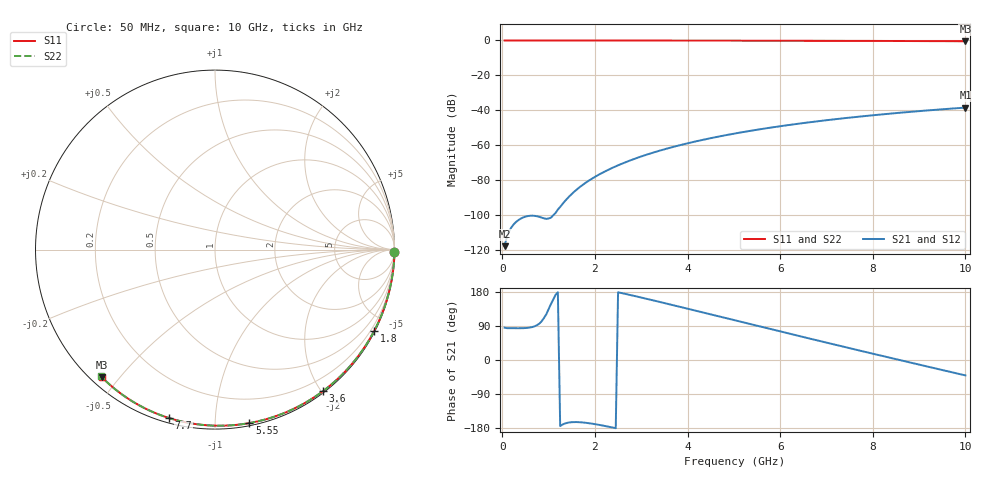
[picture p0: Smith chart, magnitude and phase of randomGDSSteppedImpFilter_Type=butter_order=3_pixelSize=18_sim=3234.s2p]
! freq	dB(S11)	phase(S11)	dB(S12)	phase(S12)
!  dB(S21)	phase(S21)	dB(S22)	phase(S22)
!S-par simulation data
#  GHz  S  DB  R 50
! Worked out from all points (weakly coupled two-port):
!   200 points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, 50 MHz to 10 GHz, reference 50 ohm
!   highest |S21| = -38.39 dB at 10 GHz (marker M1); lowest = -117.6 dB at 50 MHz (marker M2)
!   lowest |S11| = -0.4 dB at 10 GHz (marker M3), VSWR 38.95, Z = 1.54 - j22.5 ohm
!   |S11| at or under -10 dB: nowhere
!   |S22| runs from -0.4 to 0.0 dB; largest |S21 - S12| = 0
!   S11 on the Smith chart (normalised r, x): 50 MHz: open; 1.8 GHz: 0.04, -4.17; 3.6 GHz: 0.02, -2.02; 5.55 GHz: 0.02, -1.22; 7.7 GHz: 0.02, -0.76; 10 GHz: 0.03, -0.45
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0.05  -0.00 -0.8  -117.62 85.3  -117.62 85.3  -0.00 -0.8
0.9  -0.02 -13.6  -101.72 110.8  -101.72 110.8  -0.02 -13.6
1.75  -0.03 -26.2  -82.31 -165.0  -82.31 -165.0  -0.03 -26.3
1.8  -0.03 -27.0  -81.37 -165.6  -81.37 -165.6  -0.03 -27.0
1.85  -0.04 -27.7  -80.48 -166.4  -80.48 -166.4  -0.04 -27.8
1.9  -0.04 -28.4  -79.62 -167.3  -79.62 -167.3  -0.04 -28.5
2.05  -0.04 -30.6  -77.24 -170.3  -77.24 -170.3  -0.04 -30.7
2.25  -0.04 -33.5  -74.44 -174.9  -74.44 -174.9  -0.04 -33.6
2.45  -0.05 -36.4  -71.96 -180.0  -71.96 -180.0  -0.05 -36.5
2.65  -0.05 -39.3  -69.74 174.7  -69.74 174.7  -0.05 -39.4
3  -0.06 -44.3  -66.33 164.9  -66.33 164.9  -0.06 -44.4
3.4  -0.07 -49.9  -62.99 153.2  -62.99 153.2  -0.07 -50.1
3.6  -0.07 -52.7  -61.50 147.3  -61.50 147.3  -0.07 -52.9
4.3  -0.09 -62.3  -56.99 126.4  -56.99 126.4  -0.09 -62.5
5.05  -0.11 -72.3  -53.07 103.9  -53.07 103.9  -0.11 -72.5
5.55  -0.13 -78.8  -50.83 88.9  -50.83 88.9  -0.13 -79.0
6.1  -0.15 -85.7  -48.66 72.5  -48.66 72.5  -0.15 -86.0
6.7  -0.18 -93.2  -46.56 54.7  -46.56 54.7  -0.18 -93.4
7.7  -0.24 -105.2  -43.57 25.4  -43.57 25.4  -0.24 -105.5
8.35  -0.29 -112.8  -41.89 6.5  -41.89 6.5  -0.29 -113.1
9.15  -0.36 -122.0  -40.08 -16.4  -40.08 -16.4  -0.36 -122.3
10  -0.45 -131.6  -38.39 -40.7  -38.39 -40.7  -0.45 -131.9
